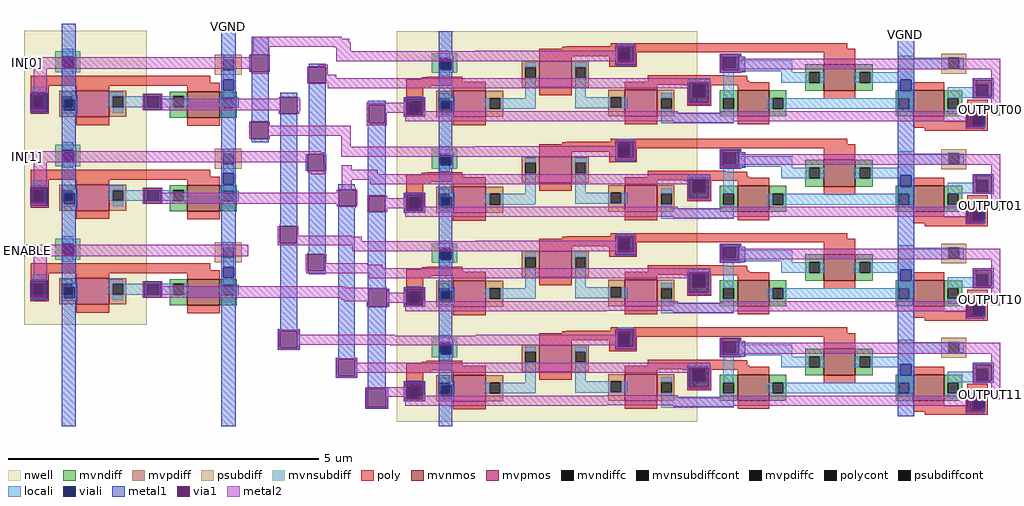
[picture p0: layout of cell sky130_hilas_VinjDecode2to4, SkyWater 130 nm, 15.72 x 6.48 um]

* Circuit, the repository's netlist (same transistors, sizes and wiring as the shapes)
**.subckt sky130_hilas_VinjDecode2to4 VINJ[1],VINJ[0] IN[1],IN[0] ENABLE OUTPUT00 OUTPUT01 OUTPUT10 OUTPUT11 VGND
*.ipin ENABLE
*.opin OUTPUT00
*.opin OUTPUT01
*.opin OUTPUT10
*.opin OUTPUT11
*.iopin VINJ[1],VINJ[0]
*.iopin VGND
*.ipin IN[1],IN[0]
x2 VINJ[0] IN[1] VinjNOR3_2/Input2 VGND sky130_hilas_VinjInv2
x3 VINJ[0] IN[0] VinjNOR3_1/Input1 VGND sky130_hilas_VinjInv2
x4 VINJ[0] ENABLE VinjNOR3_3/Input3 VGND sky130_hilas_VinjInv2
x1 VINJ[1] IN[1] IN[0] VinjNOR3_3/Input3 OUTPUT00 VGND sky130_hilas_VinjNOR3
x5 VINJ[1] IN[1] VinjNOR3_1/Input1 VinjNOR3_3/Input3 OUTPUT01 VGND sky130_hilas_VinjNOR3
x6 VINJ[1] VinjNOR3_2/Input2 IN[0] VinjNOR3_3/Input3 OUTPUT10 VGND sky130_hilas_VinjNOR3
x7 VINJ[1] VinjNOR3_2/Input2 VinjNOR3_1/Input1 VinjNOR3_3/Input3 OUTPUT11 VGND sky130_hilas_VinjNOR3
**.ends

.subckt sky130_hilas_VinjInv2 Vinj Input Output GND
*.ipin Input
*.opin Output
*.iopin Vinj
*.iopin GND
XM4 Output Input Vinj Vinj sky130_fd_pr__pfet_g5v0d10v5 L=0.53 W=0.42 nf=1 ad='int((nf+1)/2) * W/nf * 0.29' as='int((nf+2)/2) * W/nf * 0.29'
+ pd='2*int((nf+1)/2) * (W/nf + 0.29)' ps='2*int((nf+2)/2) * (W/nf + 0.29)' nrd='0.29 / W' nrs='0.29 / W' sa=0 sb=0 sd=0 mult=1 m=1
XM3 Output Input GND GND sky130_fd_pr__nfet_g5v0d10v5 L=0.52 W=0.42 nf=1 ad='int((nf+1)/2) * W/nf * 0.29' as='int((nf+2)/2) * W/nf * 0.29'
+ pd='2*int((nf+1)/2) * (W/nf + 0.29)' ps='2*int((nf+2)/2) * (W/nf + 0.29)' nrd='0.29 / W' nrs='0.29 / W' sa=0 sb=0 sd=0 mult=1 m=1
.ends


.subckt sky130_hilas_VinjNOR3 Vinj Input1 Input2 Input3 OUTPUT GND
*.ipin Input3
*.ipin Input1
*.ipin Input2
*.iopin Vinj
*.iopin GND
*.opin OUTPUT
XM1 OUTPUT Input3 GND GND sky130_fd_pr__nfet_g5v0d10v5 L=0.5 W=0.42 nf=1 ad='int((nf+1)/2) * W/nf * 0.29' as='int((nf+2)/2) * W/nf * 0.29'
+ pd='2*int((nf+1)/2) * (W/nf + 0.29)' ps='2*int((nf+2)/2) * (W/nf + 0.29)' nrd='0.29 / W' nrs='0.29 / W' sa=0 sb=0 sd=0 mult=1 m=1
XM2 OUTPUT Input1 GND GND sky130_fd_pr__nfet_g5v0d10v5 L=0.51 W=0.43 nf=1 ad='int((nf+1)/2) * W/nf * 0.29' as='int((nf+2)/2) * W/nf * 0.29'
+ pd='2*int((nf+1)/2) * (W/nf + 0.29)' ps='2*int((nf+2)/2) * (W/nf + 0.29)' nrd='0.29 / W' nrs='0.29 / W' sa=0 sb=0 sd=0 mult=1 m=1
XM3 OUTPUT Input2 GND GND sky130_fd_pr__nfet_g5v0d10v5 L=0.5 W=0.42 nf=1 ad='int((nf+1)/2) * W/nf * 0.29' as='int((nf+2)/2) * W/nf * 0.29'
+ pd='2*int((nf+1)/2) * (W/nf + 0.29)' ps='2*int((nf+2)/2) * (W/nf + 0.29)' nrd='0.29 / W' nrs='0.29 / W' sa=0 sb=0 sd=0 mult=1 m=1
XM6 OUTPUT Input2 net2 Vinj sky130_fd_pr__pfet_g5v0d10v5 L=0.52 W=0.43 nf=1 ad='int((nf+1)/2) * W/nf * 0.29' as='int((nf+2)/2) * W/nf * 0.29'
+ pd='2*int((nf+1)/2) * (W/nf + 0.29)' ps='2*int((nf+2)/2) * (W/nf + 0.29)' nrd='0.29 / W' nrs='0.29 / W' sa=0 sb=0 sd=0 mult=1 m=1
XM4 net2 Input1 net1 Vinj sky130_fd_pr__pfet_g5v0d10v5 L=0.52 W=0.42 nf=1 ad='int((nf+1)/2) * W/nf * 0.29' as='int((nf+2)/2) * W/nf * 0.29'
+ pd='2*int((nf+1)/2) * (W/nf + 0.29)' ps='2*int((nf+2)/2) * (W/nf + 0.29)' nrd='0.29 / W' nrs='0.29 / W' sa=0 sb=0 sd=0 mult=1 m=1
XM5 net1 Input3 Vinj Vinj sky130_fd_pr__pfet_g5v0d10v5 L=0.53 W=0.42 nf=1 ad='int((nf+1)/2) * W/nf * 0.29' as='int((nf+2)/2) * W/nf * 0.29'
+ pd='2*int((nf+1)/2) * (W/nf + 0.29)' ps='2*int((nf+2)/2) * (W/nf + 0.29)' nrd='0.29 / W' nrs='0.29 / W' sa=0 sb=0 sd=0 mult=1 m=1
.ends

.end

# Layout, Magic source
magic
tech sky130A
<< metal1 >>
rect -576 658 -554 681
rect -319 657 -296 681
rect -270 631 -243 660
rect -274 604 -271 631
rect -244 604 -241 631
rect -178 612 -151 617
rect -270 526 -243 604
rect -271 523 -243 526
rect -244 496 -243 523
rect -271 493 -243 496
rect -270 490 -243 493
rect -224 563 -197 570
rect -224 358 -197 536
rect -178 471 -151 585
rect -83 552 -54 557
rect -85 551 -54 552
rect -85 521 -82 551
rect -56 521 -54 551
rect -85 517 -54 521
rect -183 444 -180 471
rect -153 444 -150 471
rect -225 355 -197 358
rect -198 328 -197 355
rect -225 325 -197 328
rect -576 33 -554 235
rect -319 33 -296 236
rect -224 189 -197 325
rect -178 313 -151 444
rect -180 310 -151 313
rect -153 283 -151 310
rect -180 280 -151 283
rect -178 278 -151 280
rect -131 417 -104 423
rect -131 414 -103 417
rect -131 387 -130 414
rect -131 384 -103 387
rect -83 404 -54 517
rect -228 186 -193 189
rect -228 159 -224 186
rect -197 159 -193 186
rect -228 156 -193 159
rect -131 143 -104 384
rect -83 378 -81 404
rect -55 378 -54 404
rect -83 257 -54 378
rect -83 254 -53 257
rect -83 225 -82 254
rect -53 225 -49 254
rect -83 223 -53 225
rect -135 141 -100 143
rect -135 114 -131 141
rect -104 114 -100 141
rect -135 111 -100 114
rect -83 95 -54 223
rect -87 93 -50 95
rect -87 64 -83 93
rect -54 64 -50 93
rect -87 61 -50 64
<< via1 >>
rect -271 604 -244 631
rect -178 585 -151 612
rect -271 496 -244 523
rect -224 536 -197 563
rect -82 521 -56 551
rect -180 444 -153 471
rect -225 328 -198 355
rect -180 283 -153 310
rect -130 387 -103 414
rect -224 159 -197 186
rect -81 378 -55 404
rect -82 225 -53 254
rect -131 114 -104 141
rect -83 64 -54 93
<< metal2 >>
rect -268 657 -125 660
rect -268 651 -113 657
rect -268 644 -111 651
rect -268 634 -242 644
rect -138 643 -111 644
rect -271 631 -242 634
rect -637 609 -626 627
rect -294 609 -271 627
rect -244 629 -242 631
rect -134 637 -111 643
rect -244 609 -241 629
rect -134 621 -37 637
rect -162 612 -148 615
rect -271 601 -244 604
rect -181 585 -178 612
rect -151 599 -148 612
rect -151 593 -134 599
rect -151 585 -37 593
rect -148 577 -37 585
rect -227 560 -224 563
rect -294 542 -224 560
rect -227 536 -224 542
rect -197 560 -194 563
rect -197 541 -192 560
rect -85 551 -37 554
rect -197 536 -194 541
rect -274 496 -271 523
rect -244 517 -241 523
rect -85 521 -82 551
rect -56 538 -37 551
rect -56 521 -53 538
rect -85 518 -53 521
rect -244 501 -111 517
rect -244 496 -241 501
rect -126 483 -111 501
rect -637 458 -626 476
rect -294 474 -158 476
rect -294 471 -153 474
rect -294 458 -180 471
rect -126 467 -37 483
rect -153 444 -152 455
rect -180 441 -152 444
rect -175 439 -152 441
rect -125 446 -109 453
rect -125 439 -67 446
rect -125 430 -37 439
rect -125 414 -109 430
rect -79 423 -37 430
rect -133 409 -130 414
rect -294 391 -130 409
rect -133 387 -130 391
rect -103 387 -100 414
rect -84 378 -81 404
rect -55 400 -52 404
rect -55 384 -37 400
rect -55 378 -52 384
rect -228 328 -225 355
rect -198 340 -195 355
rect -198 338 -108 340
rect -198 331 -93 338
rect -198 328 -37 331
rect -637 307 -626 325
rect -228 324 -37 328
rect -108 315 -37 324
rect -183 283 -180 310
rect -153 295 -150 310
rect -153 293 -84 295
rect -153 287 -59 293
rect -153 283 -37 287
rect -182 279 -37 283
rect -81 271 -37 279
rect -294 256 -120 258
rect -294 254 -53 256
rect -294 240 -82 254
rect -126 237 -82 240
rect -120 234 -82 237
rect -85 225 -82 234
rect -53 248 -50 254
rect -53 232 -37 248
rect -53 225 -50 232
rect -227 186 -194 188
rect -227 159 -224 186
rect -197 180 -194 186
rect -197 179 -40 180
rect -197 164 -31 179
rect -197 159 -194 164
rect -48 163 -31 164
rect -227 157 -194 159
rect -134 141 -101 142
rect -134 114 -131 141
rect -104 135 -101 141
rect -104 119 -31 135
rect -104 114 -101 119
rect -134 112 -101 114
rect -86 93 -35 96
rect -86 64 -83 93
rect -54 80 -35 93
rect -54 64 -51 80
rect -86 63 -51 64
use sky130_hilas_VinjNOR3  sky130_hilas_VinjNOR3_0
transform 1 0 306 0 1 359
box -343 132 629 310
use sky130_hilas_VinjNOR3  sky130_hilas_VinjNOR3_1
transform 1 0 306 0 1 205
box -343 132 629 310
use sky130_hilas_VinjNOR3  sky130_hilas_VinjNOR3_2
transform 1 0 306 0 1 53
box -343 132 629 310
use sky130_hilas_VinjNOR3  sky130_hilas_VinjNOR3_3
transform 1 0 306 0 1 -99
box -343 132 629 310
use sky130_hilas_VinjInv2  VinjInv2_0
transform 1 0 -301 0 1 362
box -336 136 25 308
use sky130_hilas_VinjInv2  VinjInv2_1
transform 1 0 -301 0 1 211
box -336 136 25 308
use sky130_hilas_VinjInv2  VinjInv2_2
transform 1 0 -301 0 1 60
box -336 136 25 308
<< labels >>
rlabel metal2 -637 307 -626 325 0 ENABLE
port 9 nsew
flabel metal2 -637 609 -627 627 0 FreeSans 40 0 0 0 IN[0]
port 11 nsew
flabel metal2 -637 458 -627 476 0 FreeSans 40 0 0 0 IN[1]
port 13 nsew
flabel space 929 534 935 551 0 FreeSans 40 0 0 0 OUTPUT00
port 50 nsew
flabel space 929 228 935 245 0 FreeSans 40 0 0 0 OUTPUT10
port 54 nsew
flabel space 929 380 935 397 0 FreeSans 40 0 0 0 OUTPUT01
flabel metal1 -319 672 -296 681 0 FreeSans 40 0 0 0 VGND
port 60 nsew
flabel space 770 658 797 669 0 FreeSans 40 0 0 0 VGND
port 62 nsew
flabel space 929 76 935 93 0 FreeSans 40 0 0 0 OUTPUT11
port 56 nsew
<< end >>

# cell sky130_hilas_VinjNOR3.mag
magic
tech sky130A
magscale 1 2
<< nwell >>
rect -686 278 282 620
<< mvnmos >>
rect 414 346 514 430
rect 690 428 792 514
rect 978 346 1078 430
<< mvpmos >>
rect -226 440 -122 524
rect -504 344 -398 428
rect 50 346 154 432
<< mvndiff >>
rect 630 488 690 514
rect 630 454 644 488
rect 678 454 690 488
rect 356 404 414 430
rect 356 370 366 404
rect 400 370 414 404
rect 356 346 414 370
rect 514 404 570 430
rect 630 428 690 454
rect 792 488 848 514
rect 792 454 806 488
rect 840 454 848 488
rect 792 428 848 454
rect 514 370 526 404
rect 560 370 570 404
rect 922 404 978 430
rect 514 346 570 370
rect 922 370 932 404
rect 966 370 978 404
rect 922 346 978 370
rect 1078 404 1136 430
rect 1078 370 1090 404
rect 1124 370 1136 404
rect 1078 346 1136 370
<< mvpdiff >>
rect -282 504 -226 524
rect -282 470 -272 504
rect -238 470 -226 504
rect -282 440 -226 470
rect -122 504 -66 524
rect -122 470 -110 504
rect -76 470 -66 504
rect -122 440 -66 470
rect -558 404 -504 428
rect -558 370 -550 404
rect -516 370 -504 404
rect -558 344 -504 370
rect -398 404 -342 428
rect -398 370 -386 404
rect -352 370 -342 404
rect -398 344 -342 370
rect -4 408 50 432
rect -4 374 4 408
rect 38 374 50 408
rect -4 346 50 374
rect 154 405 208 432
rect 154 371 166 405
rect 200 371 208 405
rect 154 346 208 371
<< mvndiffc >>
rect 644 454 678 488
rect 366 370 400 404
rect 806 454 840 488
rect 526 370 560 404
rect 932 370 966 404
rect 1090 370 1124 404
<< mvpdiffc >>
rect -272 470 -238 504
rect -110 470 -76 504
rect -550 370 -516 404
rect -386 370 -352 404
rect 4 374 38 408
rect 166 371 200 405
<< psubdiff >>
rect 1068 534 1150 548
rect 1068 500 1092 534
rect 1126 500 1150 534
rect 1068 484 1150 500
<< mvnsubdiff >>
rect -572 534 -490 550
rect -572 500 -548 534
rect -514 500 -490 534
rect -572 486 -490 500
<< psubdiffcont >>
rect 1092 500 1126 534
<< mvnsubdiffcont >>
rect -548 500 -514 534
<< poly >>
rect 4 572 766 582
rect -138 570 766 572
rect -152 566 766 570
rect -152 564 32 566
rect -226 540 32 564
rect -226 524 -122 540
rect 0 532 32 540
rect 66 564 766 566
rect 66 552 792 564
rect 66 532 88 552
rect -588 472 -474 474
rect -604 466 -474 472
rect -654 458 -472 466
rect -654 444 -398 458
rect -654 436 -576 444
rect -654 394 -600 436
rect -504 428 -398 444
rect 0 506 88 532
rect 690 514 792 552
rect 124 476 376 478
rect 124 474 442 476
rect 124 460 444 474
rect 124 458 450 460
rect 50 456 450 458
rect 50 450 514 456
rect 50 448 268 450
rect -654 360 -644 394
rect -610 360 -600 394
rect -654 344 -600 360
rect -226 414 -122 440
rect 50 432 154 448
rect 238 446 268 448
rect 250 408 268 446
rect 308 446 514 450
rect 308 408 328 446
rect 414 430 514 446
rect 250 380 328 408
rect 978 430 1078 456
rect 690 402 792 428
rect 1152 356 1218 400
rect -504 318 -398 344
rect 50 320 154 346
rect 414 320 514 346
rect 978 330 1078 346
rect 1152 330 1174 356
rect 978 322 1174 330
rect 1208 322 1218 356
rect 978 310 1218 322
rect 1016 300 1218 310
<< polycont >>
rect 32 532 66 566
rect -644 360 -610 394
rect 268 408 308 450
rect 1174 322 1208 356
<< locali >>
rect 26 566 76 582
rect -548 534 -514 558
rect 26 556 32 566
rect 26 522 30 556
rect 66 532 76 566
rect 64 522 76 532
rect -548 496 -544 500
rect -272 504 -238 520
rect -548 476 -514 496
rect -652 394 -602 410
rect -652 390 -644 394
rect -652 356 -648 390
rect -610 360 -602 394
rect -614 356 -602 360
rect -652 344 -602 356
rect -550 408 -516 420
rect -550 404 -500 408
rect -272 404 -238 470
rect -112 504 -74 520
rect 26 510 76 522
rect 366 536 420 538
rect -112 470 -110 504
rect -76 470 -74 504
rect -112 468 -74 470
rect 366 502 372 536
rect 406 526 420 536
rect 930 534 982 542
rect 1090 534 1126 536
rect 406 502 588 526
rect 366 492 588 502
rect 366 490 420 492
rect 366 488 418 490
rect 554 488 588 492
rect 930 500 1092 534
rect 1126 500 1142 534
rect 930 498 1126 500
rect 930 488 982 498
rect -516 394 -500 404
rect -550 360 -542 370
rect -508 360 -500 394
rect -402 370 -386 404
rect -352 372 -238 404
rect -110 408 -76 468
rect 252 450 324 466
rect -110 374 4 408
rect 38 374 58 408
rect -110 372 58 374
rect 166 405 200 422
rect -352 370 -240 372
rect 252 408 268 450
rect 308 408 324 450
rect 252 392 324 408
rect 366 404 400 488
rect 554 454 644 488
rect 678 454 694 488
rect 786 454 806 488
rect 840 464 982 488
rect 840 454 936 464
rect 930 428 936 454
rect 972 428 982 464
rect 1170 446 1220 450
rect 1170 440 1182 446
rect 930 404 982 428
rect -550 354 -500 360
rect -548 350 -500 354
rect 166 358 200 371
rect 508 370 526 404
rect 560 370 932 404
rect 966 370 982 404
rect 1090 412 1182 440
rect 1216 412 1220 446
rect 1090 406 1220 412
rect 1090 404 1124 406
rect 366 358 400 370
rect 166 324 400 358
rect 1090 354 1124 370
rect 1164 356 1208 372
rect 1164 352 1174 356
rect 1164 318 1170 352
rect 1204 318 1208 322
rect 1164 306 1208 318
<< viali >>
rect -544 500 -514 530
rect -514 500 -510 530
rect 30 532 32 556
rect 32 532 64 556
rect 30 522 64 532
rect -544 496 -510 500
rect -648 360 -644 390
rect -644 360 -614 390
rect -648 356 -614 360
rect 372 502 406 536
rect -542 370 -516 394
rect -516 370 -508 394
rect -542 360 -508 370
rect 268 408 308 450
rect 936 428 972 464
rect 1182 412 1216 446
rect 1170 322 1174 352
rect 1174 322 1204 352
rect 1170 318 1204 322
<< metal1 >>
rect -550 540 -506 620
rect 18 572 84 574
rect -550 530 -504 540
rect -550 496 -544 530
rect -510 496 -504 530
rect 18 520 26 572
rect 78 520 84 572
rect 18 510 84 520
rect 356 546 424 548
rect -550 488 -504 496
rect 356 494 364 546
rect 416 538 424 546
rect 416 494 438 538
rect 356 488 438 494
rect -550 408 -506 488
rect 356 486 424 488
rect 928 464 982 620
rect 250 452 326 458
rect -662 402 -594 408
rect -662 350 -654 402
rect -602 350 -594 402
rect -662 344 -594 350
rect -550 394 -500 408
rect -550 360 -542 394
rect -508 360 -500 394
rect 250 390 256 452
rect 320 390 326 452
rect 250 384 326 390
rect 928 428 936 464
rect 972 428 982 464
rect -550 346 -500 360
rect -550 264 -506 346
rect 928 296 982 428
rect 1170 462 1238 468
rect 1170 410 1180 462
rect 1232 410 1238 462
rect 1170 404 1238 410
rect 1148 364 1208 372
rect 1148 312 1150 364
rect 1202 358 1208 364
rect 1202 352 1210 358
rect 1204 318 1210 352
rect 1202 312 1210 318
rect 1148 306 1208 312
<< via1 >>
rect 26 556 78 572
rect 26 522 30 556
rect 30 522 64 556
rect 64 522 78 556
rect 26 520 78 522
rect 364 536 416 546
rect 364 502 372 536
rect 372 502 406 536
rect 406 502 416 536
rect 364 494 416 502
rect -654 390 -602 402
rect -654 356 -648 390
rect -648 356 -614 390
rect -614 356 -602 390
rect -654 350 -602 356
rect 256 450 320 452
rect 256 408 268 450
rect 268 408 308 450
rect 308 408 320 450
rect 256 390 320 408
rect 1180 446 1232 462
rect 1180 412 1182 446
rect 1182 412 1216 446
rect 1216 412 1232 446
rect 1180 410 1232 412
rect 1150 352 1202 364
rect 1150 318 1170 352
rect 1170 318 1202 352
rect 1150 312 1202 318
<< metal2 >>
rect 20 572 84 578
rect 20 558 26 572
rect -430 556 26 558
rect -686 524 26 556
rect 20 520 26 524
rect 78 520 84 572
rect 20 514 84 520
rect 358 494 364 546
rect 416 532 422 546
rect 416 498 1258 532
rect 416 494 422 498
rect 358 488 422 494
rect -686 458 324 468
rect 1230 464 1258 498
rect 1174 462 1258 464
rect -686 452 326 458
rect -686 436 256 452
rect -660 402 -596 406
rect -660 390 -654 402
rect -686 358 -654 390
rect -660 350 -654 358
rect -602 362 -596 402
rect 250 390 256 436
rect 320 390 326 452
rect 1174 410 1180 462
rect 1232 410 1258 462
rect 1174 406 1258 410
rect 250 384 326 390
rect 1150 364 1202 370
rect -12 362 220 363
rect -602 356 220 362
rect 358 356 1150 362
rect -602 350 1150 356
rect -660 346 1150 350
rect -658 331 1150 346
rect -658 330 -8 331
rect 206 330 1150 331
rect 206 326 400 330
rect 1230 350 1258 406
rect 1150 306 1202 312
<< labels >>
rlabel metal1 -550 594 -506 608 0 Vinj
rlabel metal1 -550 266 -506 278 0 Vinj
rlabel metal2 1246 350 1258 384 0 OUTPUT
port 1 nsew
rlabel metal1 928 306 982 316 0 GND
rlabel metal1 928 598 982 610 0 GND
rlabel metal2 -686 524 -674 556 0 Input1
rlabel metal2 -686 436 -674 468 0 Input2
rlabel metal2 -686 358 -674 390 0 Input3
<< end >>

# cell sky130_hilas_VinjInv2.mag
magic
tech sky130A
<< nwell >>
rect -336 136 -138 308
<< mvnmos >>
rect -73 168 -21 210
<< mvpmos >>
rect -252 169 -199 211
<< mvndiff >>
rect -101 202 -73 210
rect -101 185 -96 202
rect -79 185 -73 202
rect -101 168 -73 185
rect -21 201 7 210
rect -21 184 -15 201
rect 2 184 7 201
rect -21 168 7 184
<< mvpdiff >>
rect -279 202 -252 211
rect -279 185 -275 202
rect -258 185 -252 202
rect -279 169 -252 185
rect -199 202 -171 211
rect -199 185 -193 202
rect -176 185 -171 202
rect -199 169 -171 185
<< mvndiffc >>
rect -96 185 -79 202
rect -15 184 2 201
<< mvpdiffc >>
rect -275 185 -258 202
rect -193 185 -176 202
<< psubdiff >>
rect -29 261 15 269
rect -29 244 -15 261
rect 2 244 15 261
rect -29 237 15 244
<< mvnsubdiff >>
rect -286 267 -245 275
rect -286 250 -274 267
rect -257 250 -245 267
rect -286 241 -245 250
<< psubdiffcont >>
rect -15 244 2 261
<< mvnsubdiffcont >>
rect -274 250 -257 267
<< poly >>
rect -325 224 -36 235
rect -325 219 -21 224
rect -325 203 -296 219
rect -252 211 -199 219
rect -325 186 -320 203
rect -303 186 -296 203
rect -325 174 -296 186
rect -73 210 -21 219
rect -252 156 -199 169
rect -73 155 -21 168
<< polycont >>
rect -320 186 -303 203
<< locali >>
rect -274 267 -257 279
rect -274 248 -272 250
rect -15 261 2 269
rect -274 238 -257 248
rect -15 229 2 244
rect -323 203 -300 218
rect -323 202 -320 203
rect -323 184 -321 202
rect -303 186 -300 203
rect -304 184 -300 186
rect -323 176 -300 184
rect -275 204 -258 210
rect -275 202 -250 204
rect -258 197 -250 202
rect -275 180 -271 185
rect -254 180 -250 197
rect -201 202 -176 210
rect -201 185 -193 202
rect -176 185 -137 202
rect -120 185 -96 202
rect -79 185 -71 202
rect -15 201 2 212
rect -275 177 -250 180
rect -274 175 -250 177
rect -193 176 -176 185
rect -23 184 -15 201
rect 2 184 10 201
<< viali >>
rect -272 250 -257 265
rect -257 250 -255 265
rect -272 248 -255 250
rect -15 212 2 229
rect -321 186 -320 202
rect -320 186 -304 202
rect -321 184 -304 186
rect -271 185 -258 197
rect -258 185 -254 197
rect -271 180 -254 185
rect -137 185 -120 202
<< metal1 >>
rect -275 270 -253 304
rect -275 265 -252 270
rect -275 248 -272 265
rect -255 248 -252 265
rect -275 244 -252 248
rect -325 208 -299 210
rect -326 207 -298 208
rect -326 181 -325 207
rect -299 181 -298 207
rect -326 177 -298 181
rect -275 204 -253 244
rect -18 229 5 304
rect -18 212 -15 229
rect 2 212 5 229
rect -275 197 -250 204
rect -275 180 -271 197
rect -254 180 -250 197
rect -145 180 -142 206
rect -116 180 -113 206
rect -275 173 -250 180
rect -275 153 -253 173
rect -18 153 5 212
<< via1 >>
rect -325 202 -299 207
rect -325 184 -321 202
rect -321 184 -304 202
rect -304 184 -299 202
rect -325 181 -299 184
rect -142 202 -116 206
rect -142 185 -137 202
rect -137 185 -120 202
rect -120 185 -116 202
rect -142 180 -116 185
<< metal2 >>
rect -336 247 25 265
rect -320 210 -299 247
rect -325 207 -299 210
rect -325 178 -299 181
rect -145 180 -142 206
rect -116 198 -113 206
rect -116 180 25 198
<< labels >>
rlabel metal1 -275 153 -253 159 0 Vinj
rlabel metal1 -275 297 -253 304 0 Vinj
rlabel metal1 -18 295 5 304 0 GND
rlabel metal1 -18 153 5 159 0 GND
rlabel metal2 -336 247 -326 265 0 Input
rlabel metal2 16 247 25 265 0 Input
rlabel metal2 16 180 25 198 0 Output
<< end >>
